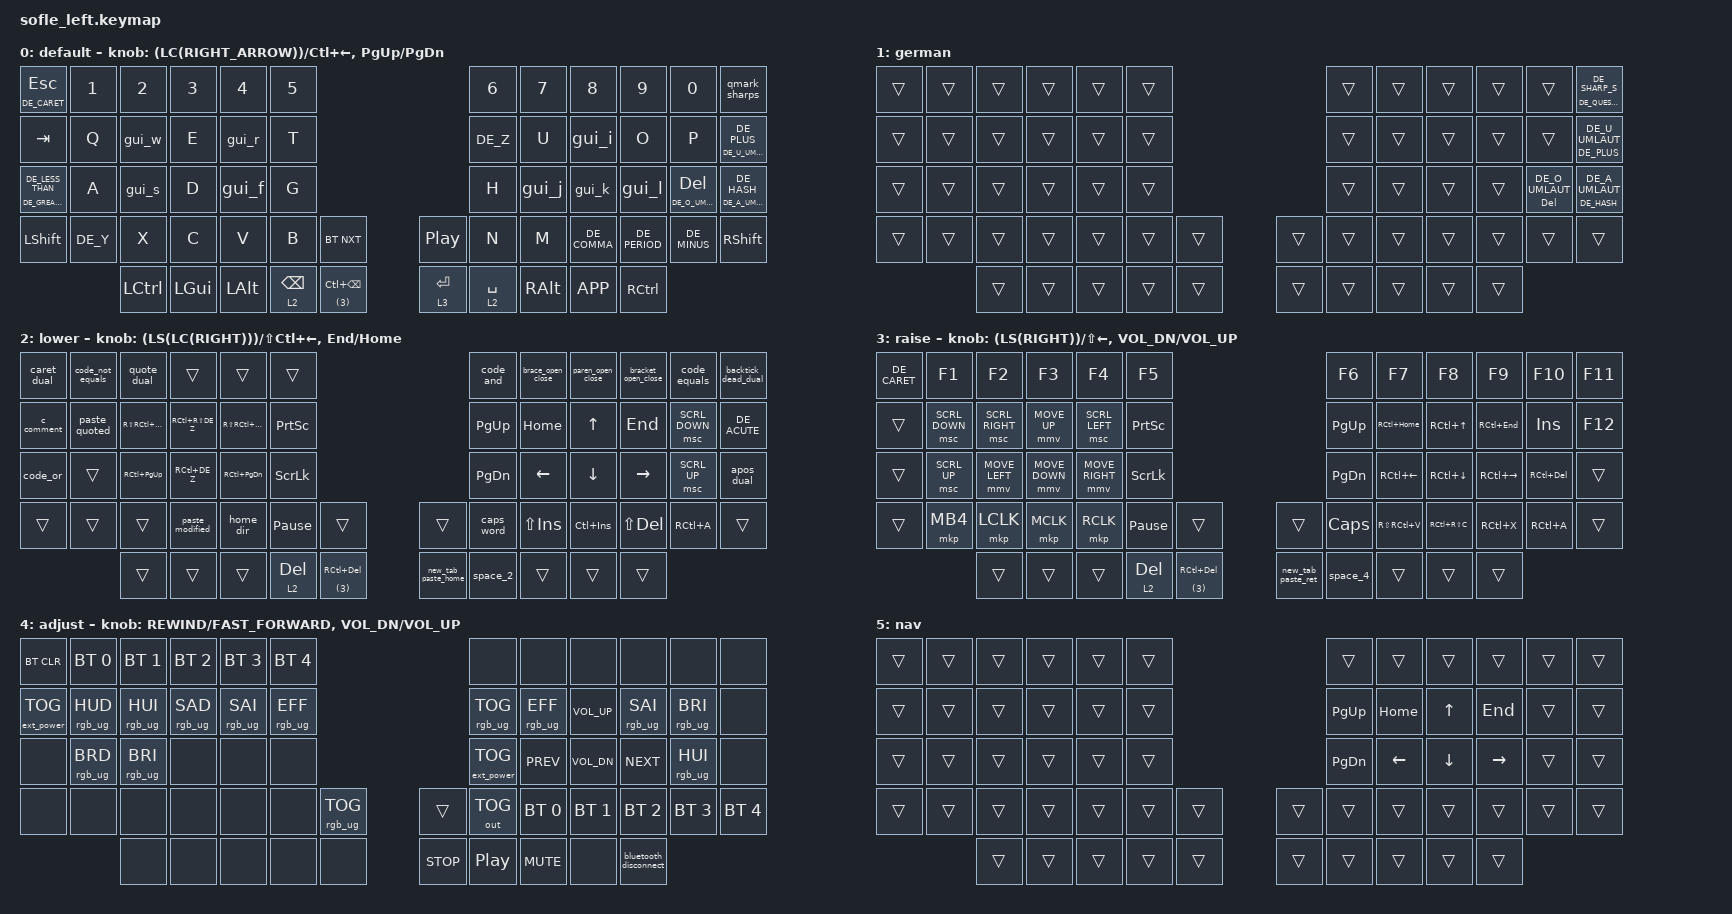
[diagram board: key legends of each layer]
/*
 * Copyright (c) 2020 The ZMK Contributors
 *
 * SPDX-License-Identifier: MIT
 */

#include <behaviors.dtsi>
#include <dt-bindings/zmk/bt.h>
#include <dt-bindings/zmk/ext_power.h>
#include <dt-bindings/zmk/keys.h>
#include <dt-bindings/zmk/outputs.h>
#include <dt-bindings/zmk/pointing.h>
#include <dt-bindings/zmk/rgb.h>

// [RA] https://github.com/nickcoutsos/keymap-editor/wiki/Keycodes-for-other-locales

#include "keys_de.h"

#define BASE 0
#define LOWER 1
#define RAISE 2
#define ADJUST 3

&caps_word { continue-list = <DE_UNDERSCORE DE_A_UMLAUT DE_O_UMLAUT DE_U_UMLAUT>; };

/ {
    conditional_layers {
        compatible = "zmk,conditional-layers";

        adjust_layer {
            if-layers = <2 3>;
            then-layer = <4>;
        };
    };

    combos {
        compatible = "zmk,combos";

        studio_unlock {
            bindings = <&studio_unlock>;
            key-positions = <53 54 48 49>;
            require-prior-idle-ms = <200>;
        };

        soft_off {
            bindings = <&soft_off>;
            key-positions = <0 1 53 54>;
            slow-release;
            require-prior-idle-ms = <200>;
        };

        tog_german {
            bindings = <&tog 1>;
            key-positions = <34 35>;
            require-prior-idle-ms = <200>;
        };

        nav_word {
            bindings = <&nav_word 5>;
            key-positions = <31 32 33>;
            require-prior-idle-ms = <200>;
        };

        fcaret {
            bindings = <&caret_dual>;
            key-positions = <0 12>;
            require-prior-idle-ms = <200>;
        };

        f1 {
            bindings = <&kp F1>;
            key-positions = <1 13>;
            require-prior-idle-ms = <200>;
        };

        f2 {
            bindings = <&kp F2>;
            key-positions = <2 14>;
            require-prior-idle-ms = <200>;
        };

        f3 {
            bindings = <&kp F3>;
            key-positions = <3 15>;
            require-prior-idle-ms = <200>;
        };

        f4 {
            bindings = <&kp F4>;
            key-positions = <4 16>;
            require-prior-idle-ms = <200>;
        };

        f5 {
            bindings = <&kp F5>;
            key-positions = <5 17>;
            require-prior-idle-ms = <200>;
        };

        f6 {
            bindings = <&kp F6>;
            key-positions = <6 18>;
            require-prior-idle-ms = <200>;
        };

        f7 {
            bindings = <&kp F7>;
            key-positions = <7 19>;
            require-prior-idle-ms = <200>;
        };

        f8 {
            bindings = <&kp F8>;
            key-positions = <8 20>;
            require-prior-idle-ms = <200>;
        };

        f9 {
            bindings = <&kp F9>;
            key-positions = <9 21>;
            require-prior-idle-ms = <200>;
        };

        f10 {
            bindings = <&kp F10>;
            key-positions = <10 22>;
            require-prior-idle-ms = <200>;
        };

        f11 {
            bindings = <&kp F11>;
            key-positions = <11 23>;
            require-prior-idle-ms = <200>;
        };

        f12 {
            bindings = <&kp F12>;
            key-positions = <10 11>;
            require-prior-idle-ms = <200>;
        };

        sgreaterthan {
            bindings = <&kp DE_GT>;
            key-positions = <24 12>;
            require-prior-idle-ms = <200>;
        };

        s1 {
            bindings = <&kp RS(N1)>;
            key-positions = <25 13>;
            require-prior-idle-ms = <200>;
        };

        s2 {
            bindings = <&kp RS(N2)>;
            key-positions = <14 26>;
            require-prior-idle-ms = <200>;
        };

        s3 {
            bindings = <&kp RS(N3)>;
            key-positions = <15 27>;
            require-prior-idle-ms = <200>;
        };

        s4 {
            bindings = <&kp RS(N4)>;
            key-positions = <16 28>;
            require-prior-idle-ms = <200>;
        };

        s5 {
            bindings = <&kp RS(N5)>;
            key-positions = <17 29>;
            require-prior-idle-ms = <200>;
        };

        s6 {
            bindings = <&kp RS(N6)>;
            key-positions = <18 30>;
            require-prior-idle-ms = <200>;
        };

        s7 {
            bindings = <&kp RS(N7)>;
            key-positions = <19 31>;
            require-prior-idle-ms = <200>;
        };

        s8 {
            bindings = <&kp RS(N8)>;
            key-positions = <20 32>;
            require-prior-idle-ms = <200>;
        };

        s9 {
            bindings = <&kp RS(N9)>;
            key-positions = <21 33>;
            require-prior-idle-ms = <200>;
        };

        s0 {
            bindings = <&kp RS(N0)>;
            key-positions = <22 34>;
            require-prior-idle-ms = <200>;
        };

        sqmark {
            bindings = <&kp DE_QUESTION>;
            key-positions = <23 35>;
            require-prior-idle-ms = <200>;
        };

        apipe {
            bindings = <&kp DE_PIPE>;
            key-positions = <36 24>;
            require-prior-idle-ms = <200>;
        };

        a7 {
            bindings = <&kp DE_LBRC>;
            key-positions = <31 45>;
            require-prior-idle-ms = <200>;
        };

        a8 {
            bindings = <&kp DE_LBKT>;
            key-positions = <32 46>;
            require-prior-idle-ms = <200>;
        };

        a9 {
            bindings = <&kp DE_RBKT>;
            key-positions = <47 33>;
            require-prior-idle-ms = <200>;
        };

        a0 {
            bindings = <&kp DE_RBRC>;
            key-positions = <48 34>;
            require-prior-idle-ms = <200>;
        };

        abackslash {
            bindings = <&kp DE_BSLH>;
            key-positions = <49 35>;
            require-prior-idle-ms = <200>;
        };

        typo_xc {
            bindings = <&kp X>;
            key-positions = <38 39>;
        };

        typo_cv {
            bindings = <&kp C>;
            key-positions = <39 40>;
        };

        typo_vb {
            bindings = <&kp V>;
            key-positions = <41 40>;
        };

        ctrl_a {
            bindings = <&kp RC(A)>;
            key-positions = <25 37>;
            require-prior-idle-ms = <200>;
        };

        ctrl_x {
            bindings = <&kp RC(DE_X)>;
            key-positions = <50 38>;
            require-prior-idle-ms = <200>;
        };

        ctrl_c {
            bindings = <&kp RC(C)>;
            key-positions = <51 39>;
            require-prior-idle-ms = <200>;
        };

        ctrl_v {
            bindings = <&kp RC(V)>;
            key-positions = <52 40>;
            require-prior-idle-ms = <200>;
        };
    };

    macros {
        brace_open_close: brace_open_close {
            compatible = "zmk,behavior-macro";
            #binding-cells = <0>;
            bindings = <&kp DE_LEFT_BRACE &kp DE_RIGHT_BRACE &kp LEFT_ARROW>;
            label = "BRACE_OPEN_CLOSE";
        };

        bracket_open_close: paren_open_close {
            compatible = "zmk,behavior-macro";
            #binding-cells = <0>;
            bindings = <&kp DE_LEFT_BRACKET &kp DE_RIGHT_BRACKET &kp LEFT_ARROW>;
            label = "PAREN_OPEN_CLOSE";
        };

        paren_open_close: bracket_open_close {
            compatible = "zmk,behavior-macro";
            #binding-cells = <0>;
            bindings = <&kp DE_LEFT_PARENTHESIS &kp DE_RIGHT_PARENTHESIS &kp LEFT_ARROW>;
            label = "BRACKET_OPEN_CLOSE";
        };

        code_equals: code_equals {
            compatible = "zmk,behavior-macro";
            #binding-cells = <0>;
            bindings = <&kp DE_EQUAL &kp DE_EQUAL>;
            label = "CODE_EQUALS";
        };

        code_not_equals: code_not_equals {
            compatible = "zmk,behavior-macro";
            #binding-cells = <0>;
            bindings = <&kp DE_EXCLAMATION &kp DE_EQUAL>;
            label = "CODE_NOT_EQUALS";
        };

        quote_dual: quote_dual {
            compatible = "zmk,behavior-macro";
            #binding-cells = <0>;
            bindings = <&kp DE_DOUBLE_QUOTES &kp DE_DOUBLE_QUOTES &kp LEFT_ARROW>;
            label = "QUOTE_DUAL";
        };

        code_and: amp_dual {
            compatible = "zmk,behavior-macro";
            #binding-cells = <0>;
            bindings = <&kp DE_AMPERSAND &kp DE_AMPERSAND>;
            label = "AMP_DUAL";
        };

        code_or: code_or {
            compatible = "zmk,behavior-macro";
            #binding-cells = <0>;
            bindings = <&kp DE_PIPE &kp DE_PIPE>;
            label = "CODE_OR";
        };

        caret_dual: caret_dual {
            compatible = "zmk,behavior-macro";
            #binding-cells = <0>;
            bindings = <&kp DE_CARET &kp DE_CARET>;
            label = "CARET_DUAL";
        };

        space_2: left_5 {
            compatible = "zmk,behavior-macro";
            #binding-cells = <0>;
            bindings = <&kp SPACE &kp SPACE>;
            label = "LEFT_5";
        };

        space_4: right_5 {
            compatible = "zmk,behavior-macro";
            #binding-cells = <0>;
            bindings = <&kp SPACE &kp SPACE &kp SPACE &kp SPACE>;
            label = "RIGHT_5";
        };

        paste_modified: paste_modified {
            compatible = "zmk,behavior-macro";
            #binding-cells = <0>;
            bindings =
                <&macro_pause_for_release>,
                <&macro_wait_time 500>,
                <&kp LG(C) &kp LC(V)>;

            label = "PASTE_MODIFIED";
        };

        paste_quoted: paste_quoted {
            compatible = "zmk,behavior-macro";
            #binding-cells = <0>;
            bindings =
                <&macro_pause_for_release>,
                <&macro_wait_time 500>,
                <&kp LG(Q) &kp LC(V)>;

            label = "PASTE_QUOTED";
        };

        bluetooth_disconnect: bluetooth_disconnect {
            compatible = "zmk,behavior-macro";
            #binding-cells = <0>;
            bindings = <&macro_wait_time 500>, <&bt BT_SEL 4 &out OUT_USB>;

            label = "BLUETOOTH_DISCONNECT";
        };

        apos_dual: apos_dual {
            compatible = "zmk,behavior-macro";
            #binding-cells = <0>;
            bindings = <&kp DE_SINGLE_QUOTE &kp DE_SINGLE_QUOTE &kp LEFT>;
            label = "APOS_DUAL";
        };

        c_comment: c_comment {
            compatible = "zmk,behavior-macro";
            #binding-cells = <0>;
            bindings = <&kp DE_SLASH &kp DE_SLASH &kp SPACE>;
            label = "C_COMMENT";
        };

        home_dir: home_dir {
            compatible = "zmk,behavior-macro";
            #binding-cells = <0>;
            bindings = <&kp SPACE &kp DE_TILDE &kp DE_SLASH>;
            label = "HOME_DIR";
        };

        backtick_dead_dual: backtick_dead_dual {
            compatible = "zmk,behavior-macro";
            #binding-cells = <0>;
            bindings = <&kp DE_GRAVE &kp DE_GRAVE &kp DE_GRAVE &kp DE_GRAVE &kp LEFT>;
            label = "BACKTICK_DEAD_DUAL";
        };

        new_tab_paste_ret: new_tab_paste {
            compatible = "zmk,behavior-macro";
            #binding-cells = <0>;
            bindings = <&kp RC(T) &kp RC(V) &kp RET>;
            label = "NEW_TAB_PASTE";
        };

        new_tab_paste_home: new_tab_paste_keyword {
            compatible = "zmk,behavior-macro";
            #binding-cells = <0>;
            bindings = <&kp RC(T) &kp RC(V) &kp HOME>;
            label = "NEW_TAB_PASTE_KEYWORD";
        };
    };

    behaviors {
        nav_word: nav_word {
            compatible = "zmk,behavior-auto-layer";
            #binding-cells = <1>;
            continue-list = <LEFT DOWN UP RIGHT PG_DN PG_UP HOME END RET>;
            ignore-modifiers;
        };

        mtp: mod_tap_preferred {
            compatible = "zmk,behavior-hold-tap";
            label = "MOD_TAP_PREFERRED";
            bindings = <&kp>, <&kp>;

            #binding-cells = <2>;
            flavor = "tap-preferred";
            tapping-term-ms = <200>;
        };

        // &lt but quick-tap triggers the tap auto-repeat behaviour.

        lt_repeat: lt_repeat {
            compatible = "zmk,behavior-hold-tap";
            #binding-cells = <2>;
            flavor = "tap-preferred";
            tapping-term-ms = <200>;
            quick-tap-ms = <200>;

            // Output tap no matter how long held: retro-tap;

            bindings = <&mo>, <&kp>;
        };

        gui_j: gui_j {
            compatible = "zmk,behavior-mod-morph";
            #binding-cells = <0>;
            bindings = <&kp J>, <&kp RG(LEFT)>;

            mods = <(MOD_LGUI)>;
            keep-mods = <(MOD_LGUI)>;
        };

        gui_k: gui_k {
            compatible = "zmk,behavior-mod-morph";
            #binding-cells = <0>;
            bindings = <&kp K>, <&kp RG(DOWN)>;

            mods = <(MOD_LGUI)>;
            keep-mods = <(MOD_LGUI)>;
        };

        gui_l: gui_l {
            compatible = "zmk,behavior-mod-morph";
            #binding-cells = <0>;
            bindings = <&kp L>, <&kp RG(RIGHT)>;

            mods = <(MOD_LGUI)>;
            keep-mods = <(MOD_LGUI)>;
        };

        gui_i: gui_i {
            compatible = "zmk,behavior-mod-morph";
            #binding-cells = <0>;
            bindings = <&kp I>, <&kp RG(UP)>;

            mods = <(MOD_LGUI)>;
            keep-mods = <(MOD_LGUI)>;
        };

        gui_w: gui_w {
            compatible = "zmk,behavior-mod-morph";
            #binding-cells = <0>;
            bindings = <&kp W>, <&kp RG(RS(PAGE_UP))>;

            mods = <(MOD_LGUI)>;
            keep-mods = <(MOD_LGUI)>;
        };

        gui_r: gui_r {
            compatible = "zmk,behavior-mod-morph";
            #binding-cells = <0>;
            bindings = <&kp R>, <&kp RG(RS(PAGE_DOWN))>;

            mods = <(MOD_LGUI)>;
            keep-mods = <(MOD_LGUI)>;
        };

        gui_s: gui_s {
            compatible = "zmk,behavior-mod-morph";
            #binding-cells = <0>;
            bindings = <&kp S>, <&kp RG(PAGE_UP)>;

            mods = <(MOD_LGUI)>;
            keep-mods = <(MOD_LGUI)>;
        };

        gui_f: gui_f {
            compatible = "zmk,behavior-mod-morph";
            #binding-cells = <0>;
            bindings = <&kp F>, <&kp RG(PAGE_DOWN)>;

            mods = <(MOD_LGUI)>;
            keep-mods = <(MOD_LGUI)>;
        };

        qmark_sharps: qmark_sharps {
            compatible = "zmk,behavior-mod-morph";
            label = "QMARK_SHARPS";
            bindings = <&mtp DE_SHARP_S DE_QUESTION>, <&kp DE_SHARP_S>;

            #binding-cells = <0>;
            mods = <(MOD_LCTL|MOD_LSFT|MOD_LALT|MOD_LGUI|MOD_RCTL|MOD_RSFT|MOD_RALT|MOD_RGUI)>;
            keep-mods = <(MOD_LCTL|MOD_LSFT|MOD_LALT|MOD_LGUI|MOD_RCTL|MOD_RSFT|MOD_RALT|MOD_RGUI)>;
        };
    };

    keymap {
        compatible = "zmk,keymap";

        default_layer {
            display-name = "default";

            // ------------------------------------------------------------------------------------------------------------
            // |   `   |  1  |  2  |  3   |  4   |  5   |                   |  6   |  7    |  8    |  9   |   0   |       |
            // |  ESC  |  Q  |  W  |  E   |  R   |  T   |                   |  Y   |  U    |  I    |  O   |   P   | BKSPC |
            // |  TAB  |  A  |  S  |  D   |  F   |  G   |                   |  H   |  J    |  K    |  L   |   ;   |   '   |
            // | SHIFT |  Z  |  X  |  C   |  V   |  B   |  MUTE  |  |       |  N   |  M    |  ,    |  .   |   /   | SHIFT |
            //               | GUI | ALT  | CTRL | LOWER|  ENTER |  | SPACE | RAISE| CTRL  | ALT   | GUI  |

            bindings = <
&mtp DE_CARET ESC                 &kp N1    &kp N2     &kp N3    &kp N4    &kp N5                                                                    &kp N6              &kp N7    &kp N8        &kp N9         &kp N0                   &qmark_sharps
&kp TAB                           &kp Q     &gui_w     &kp E     &gui_r    &kp T                                                                     &kp DE_Z            &kp U     &gui_i        &kp O          &kp P                    &mtp DE_U_UMLAUT DE_PLUS
&mt DE_GREATER_THAN DE_LESS_THAN  &kp A     &gui_s     &kp D     &gui_f    &kp G                                                                     &kp H               &gui_j    &gui_k        &gui_l         &mtp DE_O_UMLAUT DELETE  &mtp DE_A_UMLAUT DE_HASH
&kp LSHFT                         &kp DE_Y  &kp X      &kp C     &kp V     &kp B                   &bt BT_NXT                      &kp C_PLAY_PAUSE  &kp N               &kp M     &kp DE_COMMA  &kp DE_PERIOD  &kp DE_MINUS             &kp RSHFT
                                            &kp LCTRL  &kp LGUI  &kp LALT  &lt_repeat 2 BACKSPACE  &lt_repeat (3) LC(BACKSPACE)    &lt_repeat 3 RET  &lt_repeat 2 SPACE  &kp RALT  &kp K_APP     &kp RCTRL
            >;

            sensor-bindings =
                <&inc_dec_kp (LC(RIGHT_ARROW)) LC(LEFT_ARROW)>,
                <&inc_dec_kp PAGE_UP PAGE_DOWN>;
        };

        german_layer {
            bindings = <
&trans  &trans  &trans  &trans  &trans  &trans                    &trans  &trans  &trans  &trans  &trans                   &mtp DE_QUESTION DE_SHARP_S
&trans  &trans  &trans  &trans  &trans  &trans                    &trans  &trans  &trans  &trans  &trans                   &mtp DE_PLUS DE_U_UMLAUT
&trans  &trans  &trans  &trans  &trans  &trans                    &trans  &trans  &trans  &trans  &mtp DELETE DE_O_UMLAUT  &mtp DE_HASH DE_A_UMLAUT
&trans  &trans  &trans  &trans  &trans  &trans  &trans    &trans  &trans  &trans  &trans  &trans  &trans                   &trans
                &trans  &trans  &trans  &trans  &trans    &trans  &trans  &trans  &trans  &trans
            >;

            label = "german";
        };

        lower_layer {
            display-name = "lower";

            // TODO: Some binds are waiting for shifted keycode support.
            // ------------------------------------------------------------------------------------------------------------
            // |       |  F1 |  F2 |  F3  |  F4  |  F5  |                   |  F6  |  F7   |  F8   |  F9  |  F10  |  F11  |
            // |   `   |  1  |  2  |  3   |  4   |  5   |                   |  6   |  7    |  8    |  9   |   0   |  F12  |
            // |       |  !  |  @  |  #   |  $   |  %   |                   |  ^   |  &    |  *    |  (   |   )   |   |   |
            // |       |  =  |  -  |  +   |  {   |  }   |        |  |       |  [   |  ]    |  ;    |  :   |   \   |       |
            //               |     |      |      |      |        |  |       |      |       |       |      |

            bindings = <
&caret_dual  &code_not_equals  &quote_dual        &trans            &trans             &trans                                                           &code_and   &brace_open_close  &paren_open_close  &bracket_open_close  &code_equals    &backtick_dead_dual
&c_comment   &paste_quoted     &kp RS(RC(PG_UP))  &kp RC(RS(DE_Z))  &kp RS(RC(PG_DN))  &kp PRINTSCREEN                                                  &kp PG_UP   &kp HOME           &kp UP             &kp END              &msc SCRL_DOWN  &kp DE_ACUTE
&code_or     &trans            &kp RC(PG_UP)      &kp RC(DE_Z)      &kp RC(PG_DN)      &kp SCROLLLOCK                                                   &kp PG_DN   &kp LEFT           &kp DOWN           &kp RIGHT            &msc SCRL_UP    &apos_dual
&trans       &trans            &trans             &paste_modified   &home_dir          &kp PAUSE_BREAK   &trans                    &trans               &caps_word  &kp LS(INS)        &kp LC(INS)        &kp LS(DEL)          &kp RC(A)       &trans
                               &trans             &trans            &trans             &lt_repeat 2 DEL  &lt_repeat (3) RC(DEL)    &new_tab_paste_home  &space_2    &trans             &trans             &trans
            >;

            sensor-bindings =
                <&inc_dec_kp (LS(LC(RIGHT))) LS(LC(LEFT))>,
                <&inc_dec_kp END HOME>;
        };

        raise_layer {
            display-name = "raise";

            // ------------------------------------------------------------------------------------------------------------
            // | BTCLR | BT1  | BT2  |  BT3  |  BT4  |  BT5 |                |      |      |       |      |       |       |
            // |       | INS  | PSCR | GUI   |       |      |                | PGUP |      |   ^   |      |       |       |
            // |       | ALT  | CTRL | SHIFT |       | CAPS |                | PGDN |   <- |   v   |  ->  |  DEL  | BKSPC |
            // |       | UNDO | CUT  | COPY  | PASTE |      |      |  |      |      |      |       |      |       |       |
            //                |      |       |       |      |      |  |      |      |      |       |      |

            bindings = <
&kp DE_CARET  &kp F1          &kp F2           &kp F3          &kp F4           &kp F5                                                          &kp F6     &kp F7         &kp F8         &kp F9         &kp F10      &kp F11
&trans        &msc SCRL_DOWN  &msc SCRL_RIGHT  &mmv MOVE_UP    &msc SCRL_LEFT   &kp PRINTSCREEN                                                 &kp PG_UP  &kp RC(HOME)   &kp RC(UP)     &kp RC(END)    &kp INS      &kp F12
&trans        &msc SCRL_UP    &mmv MOVE_LEFT   &mmv MOVE_DOWN  &mmv MOVE_RIGHT  &kp SCROLLLOCK                                                  &kp PG_DN  &kp RC(LEFT)   &kp RC(DOWN)   &kp RC(RIGHT)  &kp RC(DEL)  &trans
&trans        &mkp MB4        &mkp LCLK        &mkp MCLK       &mkp RCLK        &kp PAUSE_BREAK   &trans                    &trans              &kp CAPS   &kp RS(RC(V))  &kp RC(RS(C))  &kp RC(X)      &kp RC(A)    &trans
                              &trans           &trans          &trans           &lt_repeat 2 DEL  &lt_repeat (3) RC(DEL)    &new_tab_paste_ret  &space_4   &trans         &trans         &trans
            >;

            sensor-bindings =
                <&inc_dec_kp (LS(RIGHT)) LS(LEFT)>,
                <&inc_dec_kp C_VOL_DN C_VOL_UP>;
        };

        adjust_layer {
            // ----------------------------------------------------------------------------------------------------------------------------
            // | BTCLR  |  BT1    |  BT2    |   BT3   |   BT4   |   BT5   |                  |      |      |       |      |       |       |
            // | EXTPWR | RGB_HUD | RGB_HUI | RGB_SAD | RGB_SAI | RGB_EFF |                  |      |      |       |      |       |       |
            // |        | RGB_BRD | RGB_BRI |         |         |         |                  |      |      |       |      |       |       |
            // |        |         |         |         |         |         | RGB_TOG | |      |      |      |       |      |       |       |
            //                    |         |         |         |         |         | |      |      |      |       |      |

            display-name = "adjust";
            bindings = <
&bt BT_CLR         &bt BT_SEL 0     &bt BT_SEL 1     &bt BT_SEL 2     &bt BT_SEL 3     &bt BT_SEL 4                                    &none              &none            &none         &none                  &none            &none
&ext_power EP_TOG  &rgb_ug RGB_HUD  &rgb_ug RGB_HUI  &rgb_ug RGB_SAD  &rgb_ug RGB_SAI  &rgb_ug RGB_EFF                                 &rgb_ug RGB_TOG    &rgb_ug RGB_EFF  &kp C_VOL_UP  &rgb_ug RGB_SAI        &rgb_ug RGB_BRI  &none
&none              &rgb_ug RGB_BRD  &rgb_ug RGB_BRI  &none            &none            &none                                           &ext_power EP_TOG  &kp C_PREV       &kp C_VOL_DN  &kp C_NEXT             &rgb_ug RGB_HUI  &none
&none              &none            &none            &none            &none            &none            &rgb_ug RGB_TOG    &trans      &out OUT_TOG       &bt BT_SEL 0     &bt BT_SEL 1  &bt BT_SEL 2           &bt BT_SEL 3     &bt BT_SEL 4
                                    &none            &none            &none            &none            &none              &kp C_STOP  &kp C_PLAY_PAUSE   &kp C_MUTE       &none         &bluetooth_disconnect
            >;

            sensor-bindings =
                <&inc_dec_kp C_REWIND C_FAST_FORWARD>,
                <&inc_dec_kp C_VOL_DN C_VOL_UP>;
        };

        nav_layer {
            display-name = "nav";
            bindings = <
&trans  &trans  &trans  &trans  &trans  &trans                    &trans     &trans    &trans    &trans     &trans  &trans
&trans  &trans  &trans  &trans  &trans  &trans                    &kp PG_UP  &kp HOME  &kp UP    &kp END    &trans  &trans
&trans  &trans  &trans  &trans  &trans  &trans                    &kp PG_DN  &kp LEFT  &kp DOWN  &kp RIGHT  &trans  &trans
&trans  &trans  &trans  &trans  &trans  &trans  &trans    &trans  &trans     &trans    &trans    &trans     &trans  &trans
                &trans  &trans  &trans  &trans  &trans    &trans  &trans     &trans    &trans    &trans
            >;
        };
    };
};

